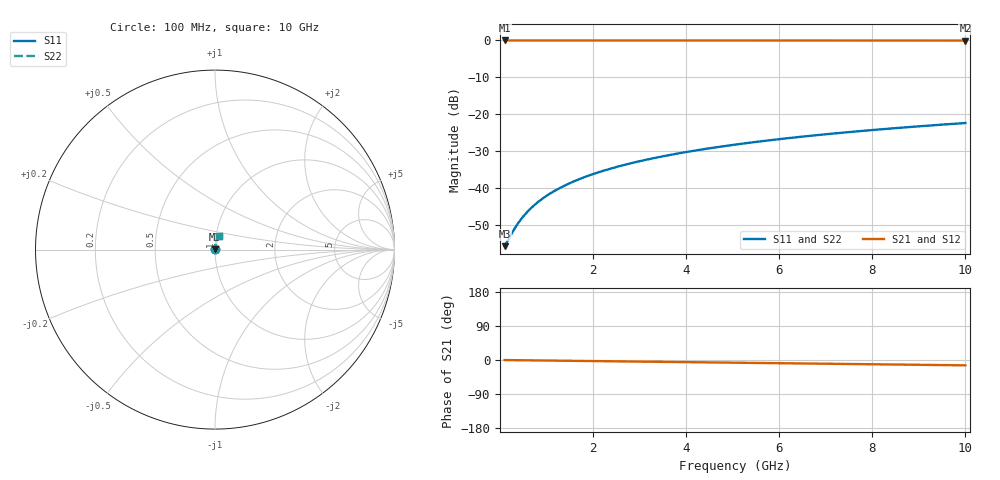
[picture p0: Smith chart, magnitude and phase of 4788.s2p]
# Hz S RI R 50.00
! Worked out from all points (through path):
!   100 points, 100 MHz to 10 GHz, reference 50 ohm
!   highest |S21| = -0.01 dB at 100 MHz (marker M1); lowest = 0.0 dB at 10 GHz (marker M2)
!   group delay of S21, straight-line fit = 3.91 ps
!   lowest |S11| = -55.8 dB at 100 MHz (marker M3), VSWR 1.00, Z = 50.1 + j0.0764 ohm
!   |S11| at or under -10 dB: start of sweep to end of sweep
!   |S22| runs from -55.8 to -22.4 dB; largest |S21 - S12| = 0
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1e8  0.00143 0.000761  0.9986 -0.00245  0.9986 -0.00245  0.00143 0.000761
3e8  0.00146 0.00228  0.9985 -0.00735  0.9985 -0.00735  0.00146 0.00228
4e8  0.00147 0.00305  0.9985 -0.0098  0.9985 -0.0098  0.00147 0.00305
5e8  0.0015 0.00381  0.9985 -0.0123  0.9985 -0.0123  0.0015 0.00381
6e8  0.00152 0.00457  0.9984 -0.0147  0.9984 -0.0147  0.00152 0.00457
7e8  0.00155 0.00533  0.9984 -0.0172  0.9984 -0.0172  0.00155 0.00533
8e8  0.00158 0.00609  0.9983 -0.0196  0.9983 -0.0196  0.00158 0.00609
9e8  0.00161 0.00685  0.9983 -0.0221  0.9983 -0.0221  0.00161 0.00685
1e9  0.00165 0.00761  0.9982 -0.0245  0.9982 -0.0245  0.00165 0.00761
1.2e9  0.00174 0.00913  0.998 -0.0294  0.998 -0.0294  0.00174 0.00913
1.5e9  0.00189 0.0114  0.9978 -0.0368  0.9978 -0.0368  0.00189 0.0114
1.8e9  0.00208 0.0137  0.9974 -0.0441  0.9974 -0.0441  0.00208 0.0137
2.1e9  0.00231 0.016  0.997 -0.0514  0.997 -0.0514  0.00231 0.016
2.5e9  0.00266 0.019  0.9964 -0.0612  0.9964 -0.0612  0.00266 0.019
2.9e9  0.00306 0.022  0.9957 -0.071  0.9957 -0.071  0.00306 0.022
3.4e9  0.00366 0.0258  0.9946 -0.0832  0.9946 -0.0832  0.00366 0.0258
4.2e9  0.00479 0.0317  0.9926 -0.1028  0.9926 -0.1028  0.00479 0.0317
5.1e9  0.00636 0.0384  0.9898 -0.1247  0.9898 -0.1247  0.00636 0.0384
5.9e9  0.00799 0.0443  0.9869 -0.1441  0.9869 -0.1441  0.00799 0.0443
6.7e9  0.00986 0.0501  0.9836 -0.1634  0.9836 -0.1634  0.00986 0.0501
8.4e9  0.0146 0.0621  0.9751 -0.2043  0.9751 -0.2043  0.0146 0.0621
1e10  0.0199 0.0731  0.9655 -0.2424  0.9655 -0.2424  0.0199 0.0731
